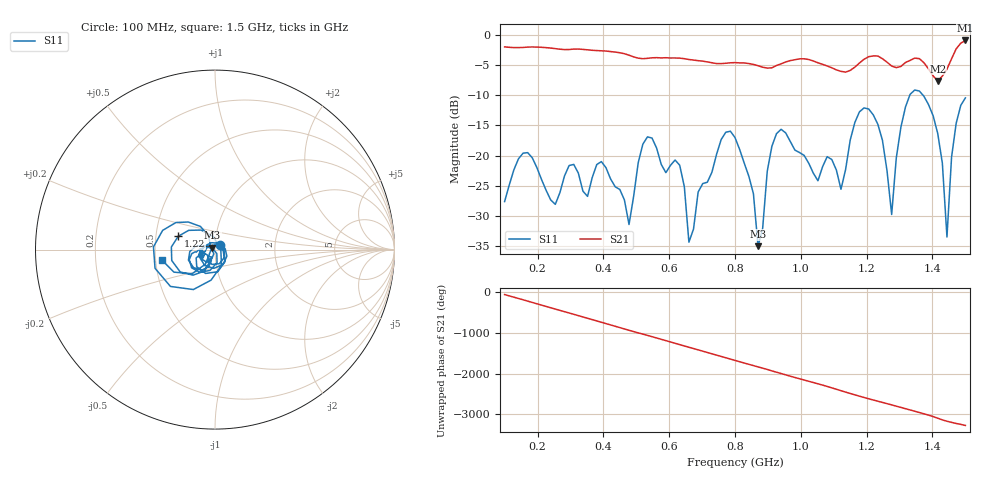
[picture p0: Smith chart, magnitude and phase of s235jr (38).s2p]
! NanoVNA-App
! Date: 2025-09-26 09:45:05
! Start: 100MHz Stop: 1,5GHz Points: 101
! S-Parameter data: F S11 S21 S12 S22
# Hz S RI R 50
!  Frequency  S11_Real  S11_Imag  S21_Real  S21_Imag  S12_Real  S12_Imag  S22_Real  S22_Imag
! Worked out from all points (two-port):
!   101 points, 100 MHz to 1.5 GHz, reference 50 ohm
!   highest |S21| = -0.89 dB at 1.5 GHz (marker M1); lowest = -7.6 dB at 1.416 GHz (marker M2)
!   |S21| within 3 dB of the highest: start of sweep to 515.2 MHz; 526.8 MHz to 642 MHz (115.2 MHz wide, 19.7 % of centre) (the widest 2 of 5)
!   lowest |S11| = -35.1 dB at 870 MHz (marker M3), VSWR 1.04, Z = 48.5 + j0.958 ohm
!   |S11| at or under -10 dB: start of sweep to 1.331 GHz; 1.372 GHz to end of sweep
!   S12 and S22 are empty: the file has one direction only
!   S11 on the Smith chart (normalised r, x): 100 MHz: 1.06, +0.06; 1.22 GHz: 0.65, +0.10; 1.5 GHz: 0.54, -0.07
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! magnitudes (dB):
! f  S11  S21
! 100 MHz  -27.7  -2.0
! 156 MHz  -19.6  -2.1
! 338 MHz  -25.9  -2.4
! 394 MHz  -21.0  -2.6
! 478 MHz  -31.5  -3.3
! 520 MHz  -18.1  -3.9
! 576 MHz  -21.5  -3.8
! 632 MHz  -21.6  -3.8
! 660 MHz  -34.4  -4.1
! 800 MHz  -17.0  -4.6
! 870 MHz  -35.1  -5.1
! 926 MHz  -16.4  -5.0
! 1.038 GHz  -22.9  -4.3
! 1.122 GHz  -25.6  -6.0
! 1.178 GHz  -12.7  -4.6
! 1.22 GHz  -13.2  -3.5
! 1.276 GHz  -29.8  -5.1
! 1.332 GHz  -9.8  -4.2
! 1.416 GHz  -16.3  -7.6
! 1.444 GHz  -33.5  -5.7
! 1.458 GHz  -20.3  -3.9
! 1.5 GHz  -10.4  -0.9
